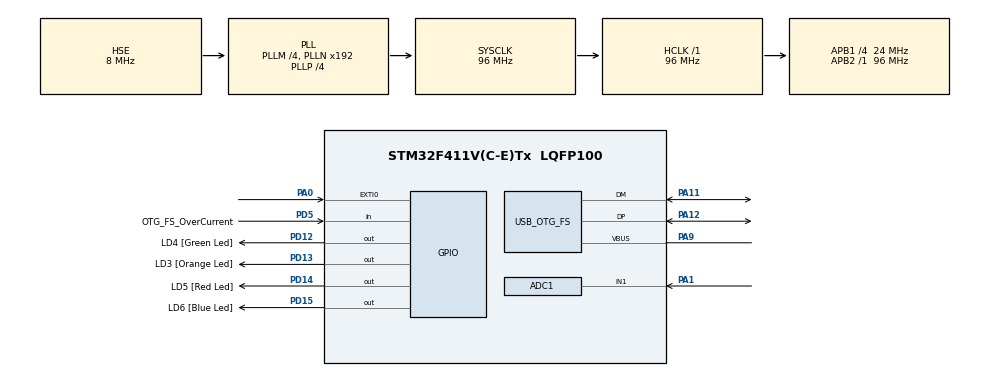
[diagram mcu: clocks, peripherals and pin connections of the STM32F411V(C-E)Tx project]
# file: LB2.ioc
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ADC1.Channel-2\#ChannelRegularConversion=ADC_CHANNEL_1
ADC1.ClockPrescaler=ADC_CLOCK_SYNC_PCLK_DIV8
ADC1.ContinuousConvMode=ENABLE
ADC1.DMAContinuousRequests=ENABLE
ADC1.NbrOfConversion=1
ADC1.NbrOfConversionFlag=1
ADC1.Rank-2\#ChannelRegularConversion=1
ADC1.SamplingTime-2\#ChannelRegularConversion=ADC_SAMPLETIME_3CYCLES
ADC1.ScanConvMode=ENABLE
ADC1.master=1
Dma.ADC1.0.Direction=DMA_PERIPH_TO_MEMORY
Dma.ADC1.0.FIFOMode=DMA_FIFOMODE_DISABLE
Dma.ADC1.0.Instance=DMA2_Stream0
Dma.ADC1.0.MemDataAlignment=DMA_MDATAALIGN_HALFWORD
Dma.ADC1.0.MemInc=DMA_MINC_ENABLE
Dma.ADC1.0.Mode=DMA_CIRCULAR
Dma.ADC1.0.PeriphDataAlignment=DMA_PDATAALIGN_HALFWORD
Dma.ADC1.0.PeriphInc=DMA_PINC_DISABLE
Dma.ADC1.0.Priority=DMA_PRIORITY_LOW
Dma.MEMTOMEM.1.Direction=DMA_MEMORY_TO_MEMORY
Dma.MEMTOMEM.1.FIFOMode=DMA_FIFOMODE_ENABLE
Dma.MEMTOMEM.1.FIFOThreshold=DMA_FIFO_THRESHOLD_FULL
Dma.MEMTOMEM.1.Instance=DMA2_Stream6
Dma.MEMTOMEM.1.MemBurst=DMA_MBURST_SINGLE
Dma.MEMTOMEM.1.MemDataAlignment=DMA_MDATAALIGN_HALFWORD
Dma.MEMTOMEM.1.MemInc=DMA_MINC_ENABLE
Dma.MEMTOMEM.1.Mode=DMA_NORMAL
Dma.MEMTOMEM.1.PeriphBurst=DMA_PBURST_SINGLE
Dma.MEMTOMEM.1.PeriphDataAlignment=DMA_PDATAALIGN_HALFWORD
Dma.MEMTOMEM.1.PeriphInc=DMA_PINC_ENABLE
Dma.MEMTOMEM.1.Priority=DMA_PRIORITY_MEDIUM
Dma.Request0=ADC1
Dma.Request1=MEMTOMEM
Mcu.Family=STM32F4
Mcu.Name=STM32F411V(C-E)Tx
Mcu.Package=LQFP100
NVIC.DMA2_Stream0_IRQn=true\:0\:0\:false\:false\:true\:false\:true
NVIC.DMA2_Stream6_IRQn=true\:0\:0\:false\:false\:true\:true\:true
NVIC.EXTI0_IRQn=true\:0\:0\:false\:false\:true\:true\:true
NVIC.OTG_FS_IRQn=true\:0\:0\:false\:false\:true\:true\:true
NVIC.OTG_FS_WKUP_IRQn=true\:0\:0\:false\:false\:true\:false\:true
NVIC.PriorityGroup=NVIC_PRIORITYGROUP_0
PA0-WKUP.GPIO_ModeDefaultEXTI=GPIO_MODE_IT_RISING
PA0-WKUP.Signal=GPXTI0
PA1.Signal=ADCx_IN1
PA11.Mode=Device_Only
PA11.Signal=USB_OTG_FS_DM
PA12.Mode=Device_Only
PA12.Signal=USB_OTG_FS_DP
PA13.GPIO_Label=SWDIO
PA13.Mode=Serial_Wire
PA13.Signal=SYS_JTMS-SWDIO
PA14.GPIO_Label=SWCLK
PA14.Mode=Serial_Wire
PA14.Signal=SYS_JTCK-SWCLK
PA9.Mode=Activate_VBUS
PA9.Signal=USB_OTG_FS_VBUS
PC14-OSC32_IN.GPIO_Label=PC14-OSC32_IN
PC14-OSC32_IN.Mode=LSE-External-Oscillator
PC14-OSC32_IN.Signal=RCC_OSC32_IN
PC15-OSC32_OUT.GPIO_Label=PC15-OSC32_OUT
PC15-OSC32_OUT.Mode=LSE-External-Oscillator
PC15-OSC32_OUT.Signal=RCC_OSC32_OUT
PD12.GPIO_Label=LD4 [Green Led]
PD12.GPIO_PuPd=GPIO_NOPULL
PD12.GPIO_Speed=GPIO_SPEED_FREQ_LOW
PD12.Signal=GPIO_Output
PD13.GPIO_Label=LD3 [Orange Led]
PD13.GPIO_PuPd=GPIO_NOPULL
PD13.GPIO_Speed=GPIO_SPEED_FREQ_LOW
PD13.Signal=GPIO_Output
PD14.GPIO_Label=LD5 [Red Led]
PD14.GPIO_PuPd=GPIO_NOPULL
PD14.GPIO_Speed=GPIO_SPEED_FREQ_LOW
PD14.Signal=GPIO_Output
PD15.GPIO_Label=LD6 [Blue Led]
PD15.GPIO_PuPd=GPIO_NOPULL
PD15.GPIO_Speed=GPIO_SPEED_FREQ_LOW
PD15.Signal=GPIO_Output
PD5.GPIO_Label=OTG_FS_OverCurrent
PD5.Signal=GPIO_Input
PH0\ -\ OSC_IN.GPIO_Label=PH0-OSC_IN
PH0\ -\ OSC_IN.Mode=HSE-External-Oscillator
PH0\ -\ OSC_IN.Signal=RCC_OSC_IN
PH1\ -\ OSC_OUT.GPIO_Label=PH1-OSC_OUT
PH1\ -\ OSC_OUT.Mode=HSE-External-Oscillator
PH1\ -\ OSC_OUT.Signal=RCC_OSC_OUT
ProjectManager.HeapSize=0x400
ProjectManager.StackSize=0x800
ProjectManager.TargetToolchain=STM32CubeIDE
RCC.48MHZClocksFreq_Value=48000000
RCC.AHBFreq_Value=96000000
RCC.APB1CLKDivider=RCC_HCLK_DIV4
RCC.APB1Freq_Value=24000000
RCC.APB1TimFreq_Value=48000000
RCC.APB2Freq_Value=96000000
RCC.APB2TimFreq_Value=96000000
RCC.CortexFreq_Value=96000000
RCC.HCLKFreq_Value=96000000
RCC.HSE_VALUE=8000000
RCC.HSI_VALUE=16000000
RCC.PLLI2SM=5
RCC.PLLI2SN=200
RCC.PLLM=4
RCC.PLLP=RCC_PLLP_DIV4
RCC.PLLQ=8
RCC.SYSCLKFreq_VALUE=96000000
RCC.SYSCLKSource=RCC_SYSCLKSOURCE_PLLCLK
RCC.VCOOutputFreq_Value=384000000
SH.ADCx_IN1.0=ADC1_IN1,IN1
STMicroelectronics.X-CUBE-ALGOBUILD.1.1.0.LibraryCcDSPOoLibraryJjDSPOoLibrary=true
USB_DEVICE.CLASS_NAME_FS=CDC
USB_DEVICE.VirtualMode=Cdc
USB_DEVICE.VirtualModeFS=Cdc_FS
USB_OTG_FS.VirtualMode=Device_Only
USB_OTG_FS.low_power_enable=ENABLE
VP_STMicroelectronics.X-CUBE-ALGOBUILD_VS_DSPOoLibraryJjLibrary_1.1.0.Mode=DSPOoLibraryJjLibrary
VP_USB_DEVICE_VS_USB_DEVICE_CDC_FS.Mode=CDC_FS
board=STM32F411E-DISCO

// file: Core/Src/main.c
/* USER CODE BEGIN Header */
/**
  ******************************************************************************
  * @file           : main.c
  * @brief          : Main program body
  ******************************************************************************
  * @attention
  *
  * <h2><center>&copy; Copyright (c) 2020 STMicroelectronics.
  * All rights reserved.</center></h2>
  *
  * This software component is licensed by ST under Ultimate Liberty license
  * SLA0044, the "License"; You may not use this file except in compliance with
  * the License. You may obtain a copy of the License at:
  *                             www.st.com/SLA0044
  *
  ******************************************************************************
  */
#define ARM_MATH_CM4
/* USER CODE END Header */
#include "main.h"
#include "usb_device.h"

/* USER CODE BEGIN Includes */
#include "usbd_cdc_if.h"
#include <stdbool.h>
#include <arm_math.h>

/* USER CODE END Includes */

/* USER CODE BEGIN PD */
#define DATA_SIZE 256
/* USER CODE END PD */

ADC_HandleTypeDef hadc1;
DMA_HandleTypeDef hdma_adc1;

DMA_HandleTypeDef hdma_memtomem_dma2_stream6;
/* USER CODE BEGIN PV */

uint16_t ADC_Data[DATA_SIZE];
uint16_t Before_Conversion_Data[DATA_SIZE];
uint16_t Fourier_Data[DATA_SIZE * 2];
bool fourier_performing = false;
arm_rfft_instance_q15 S;
/* USER CODE END PV */

void SystemClock_Config(void);
static void MX_GPIO_Init(void);
static void MX_DMA_Init(void);
static void MX_ADC1_Init(void);
/* USER CODE BEGIN PFP */

static void ADC_to_Fourier_complete(DMA_HandleTypeDef *hdma);

/* USER CODE END PFP */

int main(void)
{

  /* MCU Configuration--------------------------------------------------------*/

  /* Reset of all peripherals, Initializes the Flash interface and the Systick. */
  HAL_Init();

  /* Configure the system clock */
  SystemClock_Config();

  /* Initialize all configured peripherals */
  MX_GPIO_Init();
  MX_DMA_Init();
  MX_ADC1_Init();
  MX_USB_DEVICE_Init();
  /* USER CODE BEGIN 2 */

    // Callback для заполнения массива ADC
    HAL_DMA_RegisterCallback(&hdma_memtomem_dma2_stream6, HAL_DMA_XFER_CPLT_CB_ID, ADC_to_Fourier_complete);
    HAL_ADC_Start_DMA(&hadc1, (uint32_t *) ADC_Data, DATA_SIZE);
  /* USER CODE END 2 */

  /* Infinite loop */
  /* USER CODE BEGIN WHILE */
    char buffer[5];
    while (1) {
    /* USER CODE END WHILE */

    /* USER CODE BEGIN 3 */
        arm_rfft_q15(&S, (q15_t*)Before_Conversion_Data, (q15_t*)Fourier_Data);
        if (fourier_performing) {
            for (uint32_t num = 0; num < DATA_SIZE * 2; ++num) {
                sprintf(buffer, "%d\n", Fourier_Data[num]);
                CDC_Transmit_FS((uint8_t*) buffer, 5);
            }
            fourier_performing = false;
            HAL_ADC_Start_DMA(&hadc1, (uint32_t *) ADC_Data, DATA_SIZE);
        }
    }
  /* USER CODE END 3 */
}

void SystemClock_Config(void)
{
  RCC_OscInitTypeDef RCC_OscInitStruct = {0};
  RCC_ClkInitTypeDef RCC_ClkInitStruct = {0};

  /** Configure the main internal regulator output voltage
  */
  __HAL_RCC_PWR_CLK_ENABLE();
  __HAL_PWR_VOLTAGESCALING_CONFIG(PWR_REGULATOR_VOLTAGE_SCALE1);
  /** Initializes the RCC Oscillators according to the specified parameters
  * in the RCC_OscInitTypeDef structure.
  */
  RCC_OscInitStruct.OscillatorType = RCC_OSCILLATORTYPE_HSE;
  RCC_OscInitStruct.HSEState = RCC_HSE_ON;
  RCC_OscInitStruct.PLL.PLLState = RCC_PLL_ON;
  RCC_OscInitStruct.PLL.PLLSource = RCC_PLLSOURCE_HSE;
  RCC_OscInitStruct.PLL.PLLM = 4;
  RCC_OscInitStruct.PLL.PLLN = 192;
  RCC_OscInitStruct.PLL.PLLP = RCC_PLLP_DIV4;
  RCC_OscInitStruct.PLL.PLLQ = 8;
  if (HAL_RCC_OscConfig(&RCC_OscInitStruct) != HAL_OK)
  {
    Error_Handler();
  }
  /** Initializes the CPU, AHB and APB buses clocks
  */
  RCC_ClkInitStruct.ClockType = RCC_CLOCKTYPE_HCLK|RCC_CLOCKTYPE_SYSCLK
                              |RCC_CLOCKTYPE_PCLK1|RCC_CLOCKTYPE_PCLK2;
  RCC_ClkInitStruct.SYSCLKSource = RCC_SYSCLKSOURCE_PLLCLK;
  RCC_ClkInitStruct.AHBCLKDivider = RCC_SYSCLK_DIV1;
  RCC_ClkInitStruct.APB1CLKDivider = RCC_HCLK_DIV4;
  RCC_ClkInitStruct.APB2CLKDivider = RCC_HCLK_DIV1;

  if (HAL_RCC_ClockConfig(&RCC_ClkInitStruct, FLASH_LATENCY_3) != HAL_OK)
  {
    Error_Handler();
  }
}

static void MX_ADC1_Init(void)
{

  ADC_ChannelConfTypeDef sConfig = {0};

  /** Configure the global features of the ADC (Clock, Resolution, Data Alignment and number of conversion)
  */
  hadc1.Instance = ADC1;
  hadc1.Init.ClockPrescaler = ADC_CLOCK_SYNC_PCLK_DIV8;
  hadc1.Init.Resolution = ADC_RESOLUTION_12B;
  hadc1.Init.ScanConvMode = ENABLE;
  hadc1.Init.ContinuousConvMode = ENABLE;
  hadc1.Init.DiscontinuousConvMode = DISABLE;
  hadc1.Init.ExternalTrigConvEdge = ADC_EXTERNALTRIGCONVEDGE_NONE;
  hadc1.Init.ExternalTrigConv = ADC_SOFTWARE_START;
  hadc1.Init.DataAlign = ADC_DATAALIGN_RIGHT;
  hadc1.Init.NbrOfConversion = 1;
  hadc1.Init.DMAContinuousRequests = ENABLE;
  hadc1.Init.EOCSelection = ADC_EOC_SINGLE_CONV;
  if (HAL_ADC_Init(&hadc1) != HAL_OK)
  {
    Error_Handler();
  }
  /** Configure for the selected ADC regular channel its corresponding rank in the sequencer and its sample time.
  */
  sConfig.Channel = ADC_CHANNEL_1;
  sConfig.Rank = 1;
  sConfig.SamplingTime = ADC_SAMPLETIME_3CYCLES;
  if (HAL_ADC_ConfigChannel(&hadc1, &sConfig) != HAL_OK)
  {
    Error_Handler();
  }

}

static void MX_DMA_Init(void)
{

  /* DMA controller clock enable */
  __HAL_RCC_DMA2_CLK_ENABLE();

  /* Configure DMA request hdma_memtomem_dma2_stream6 on DMA2_Stream6 */
  hdma_memtomem_dma2_stream6.Instance = DMA2_Stream6;
  hdma_memtomem_dma2_stream6.Init.Channel = DMA_CHANNEL_0;
  hdma_memtomem_dma2_stream6.Init.Direction = DMA_MEMORY_TO_MEMORY;
  hdma_memtomem_dma2_stream6.Init.PeriphInc = DMA_PINC_ENABLE;
  hdma_memtomem_dma2_stream6.Init.MemInc = DMA_MINC_ENABLE;
  hdma_memtomem_dma2_stream6.Init.PeriphDataAlignment = DMA_PDATAALIGN_HALFWORD;
  hdma_memtomem_dma2_stream6.Init.MemDataAlignment = DMA_MDATAALIGN_HALFWORD;
  hdma_memtomem_dma2_stream6.Init.Mode = DMA_NORMAL;
  hdma_memtomem_dma2_stream6.Init.Priority = DMA_PRIORITY_MEDIUM;
  hdma_memtomem_dma2_stream6.Init.FIFOMode = DMA_FIFOMODE_ENABLE;
  hdma_memtomem_dma2_stream6.Init.FIFOThreshold = DMA_FIFO_THRESHOLD_FULL;
  hdma_memtomem_dma2_stream6.Init.MemBurst = DMA_MBURST_SINGLE;
  hdma_memtomem_dma2_stream6.Init.PeriphBurst = DMA_PBURST_SINGLE;
  if (HAL_DMA_Init(&hdma_memtomem_dma2_stream6) != HAL_OK)
  {
    Error_Handler( );
  }

  /* DMA interrupt init */
  /* DMA2_Stream0_IRQn interrupt configuration */
  HAL_NVIC_SetPriority(DMA2_Stream0_IRQn, 0, 0);
  HAL_NVIC_EnableIRQ(DMA2_Stream0_IRQn);
  /* DMA2_Stream6_IRQn interrupt configuration */
  HAL_NVIC_SetPriority(DMA2_Stream6_IRQn, 0, 0);
  HAL_NVIC_EnableIRQ(DMA2_Stream6_IRQn);

}

static void MX_GPIO_Init(void)
{
  GPIO_InitTypeDef GPIO_InitStruct = {0};

  /* GPIO Ports Clock Enable */
  __HAL_RCC_GPIOC_CLK_ENABLE();
  __HAL_RCC_GPIOH_CLK_ENABLE();
  __HAL_RCC_GPIOA_CLK_ENABLE();
  __HAL_RCC_GPIOD_CLK_ENABLE();

  /*Configure GPIO pin Output Level */
  HAL_GPIO_WritePin(GPIOD, LD4_Pin|LD3_Pin|LD5_Pin|LD6_Pin, GPIO_PIN_RESET);

  /*Configure GPIO pin : PA0 */
  GPIO_InitStruct.Pin = GPIO_PIN_0;
  GPIO_InitStruct.Mode = GPIO_MODE_IT_RISING;
  GPIO_InitStruct.Pull = GPIO_NOPULL;
  HAL_GPIO_Init(GPIOA, &GPIO_InitStruct);

  /*Configure GPIO pins : LD4_Pin LD3_Pin LD5_Pin LD6_Pin */
  GPIO_InitStruct.Pin = LD4_Pin|LD3_Pin|LD5_Pin|LD6_Pin;
  GPIO_InitStruct.Mode = GPIO_MODE_OUTPUT_PP;
  GPIO_InitStruct.Pull = GPIO_NOPULL;
  GPIO_InitStruct.Speed = GPIO_SPEED_FREQ_LOW;
  HAL_GPIO_Init(GPIOD, &GPIO_InitStruct);

  /*Configure GPIO pin : OTG_FS_OverCurrent_Pin */
  GPIO_InitStruct.Pin = OTG_FS_OverCurrent_Pin;
  GPIO_InitStruct.Mode = GPIO_MODE_INPUT;
  GPIO_InitStruct.Pull = GPIO_NOPULL;
  HAL_GPIO_Init(OTG_FS_OverCurrent_GPIO_Port, &GPIO_InitStruct);

  /* EXTI interrupt init*/
  HAL_NVIC_SetPriority(EXTI0_IRQn, 0, 0);
  HAL_NVIC_EnableIRQ(EXTI0_IRQn);

}

/* USER CODE BEGIN 4 */

void ADC_to_Fourier_complete(DMA_HandleTypeDef *hdma) {
    if (!fourier_performing) {
        HAL_ADC_Start_DMA(&hadc1, (uint32_t *) &ADC_Data, DATA_SIZE);
        fourier_performing = true;
    }
}

// Callback, вызываемый при заполнении массива данных с АЦП
void HAL_ADC_ConvCpltCallback(ADC_HandleTypeDef *hadc) {
    if (hadc->Instance == ADC1) {
        HAL_ADC_Stop_DMA(hadc);
        HAL_DMA_Start_IT(&hdma_memtomem_dma2_stream6, (uint32_t) &ADC_Data, (uint32_t) &Before_Conversion_Data, DATA_SIZE);
    }
}

/* USER CODE END 4 */

void Error_Handler(void)
{
}

/************************ (C) COPYRIGHT STMicroelectronics *****END OF FILE****/
